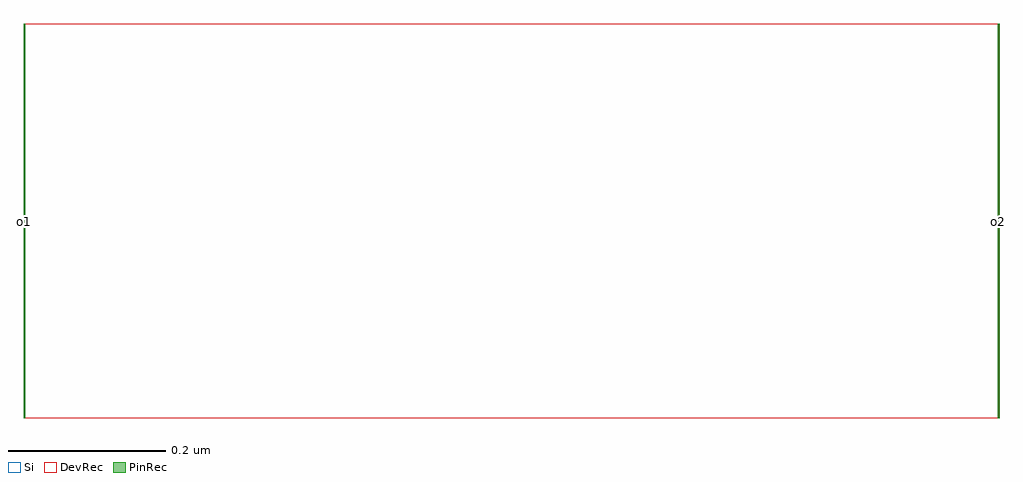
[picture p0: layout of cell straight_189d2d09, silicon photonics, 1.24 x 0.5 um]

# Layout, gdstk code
import gdstk
lib = gdstk.Library(unit=1e-6, precision=1e-09)
def R(c, l, rs):  # rectangles x0, y0, x1, y1
    for r in rs: c.add(gdstk.rectangle(r[:2], r[2:], *l))
Si = (1, 0)
PinRec = (1, 10)
DevRec = (68, 0)

straight_189d2d09 = lib.new_cell('straight_189d2d09')
R(straight_189d2d09, Si, [(0,-0.25,1.234,0.25)])
R(straight_189d2d09, PinRec, [(-0.001,-0.25,0.001,0.25), (1.233,-0.25,1.235,0.25)])
R(straight_189d2d09, DevRec, [(0,-0.25,1.234,0.25)])
straight_189d2d09.add(gdstk.FlexPath([(0.001,0),(-0.001,0)], 0.5, ends="flush", simple_path=True, layer=1, datatype=10))  # PinRec
straight_189d2d09.add(gdstk.FlexPath([(1.233,0),(1.235,0)], 0.5, ends="flush", simple_path=True, layer=1, datatype=10))  # PinRec
straight_189d2d09.add(gdstk.Label('o1', (0,0), layer=66, texttype=0))
straight_189d2d09.add(gdstk.Label('o2', (1.234,0), layer=66, texttype=0))

lib.write_gds('straight_189d2d09.gds')
